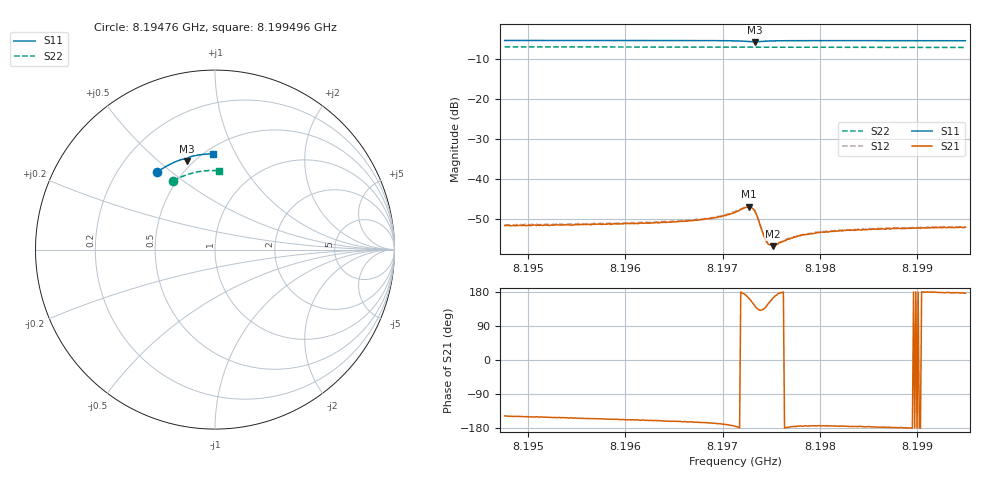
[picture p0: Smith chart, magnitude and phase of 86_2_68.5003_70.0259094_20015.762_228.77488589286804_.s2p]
#  HZ  S  RI  R  50.00
! Rohde & Schwarz Vector Network Analyzer
! Rohde-Schwarz,ZNB20-2Port,1311601062101988,3.16
! Created: UTC 3/20/2024, 4:52:21 PM
! freq[Hz]  re:S11  im:S11  re:S21  im:S21  re:S12  im:S12  re:S22  im:S22
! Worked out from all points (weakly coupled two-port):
!   401 points, 8.19476 GHz to 8.199496 GHz, reference 50 ohm
!   highest |S21| = -46.93 dB at 8.19727 GHz (marker M1); lowest = -56.8 dB at 8.197519 GHz (marker M2)
!   lowest |S11| = -5.7 dB at 8.197329 GHz (marker M3), VSWR 3.14, Z = 23.2 + j31.2 ohm
!   |S11| at or under -10 dB: nowhere
!   |S22| runs from -7.1 to -7.0 dB; largest |S21 - S12| = 0.00026
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8.1947602e9  -0.3219 0.4314  -0.00221 -0.00141  -0.00231 -0.00135  -0.2326 0.3827
8.1955534e9  -0.2746 0.4622  -0.00242 -0.00119  -0.0025 -0.00117  -0.193 0.4028
8.1963466e9  -0.224 0.4877  -0.00266 -0.000971  -0.00277 -0.000885  -0.1517 0.4189
8.1966544e9  -0.2032 0.4962  -0.00289 -0.000866  -0.00299 -0.000743  -0.1352 0.4238
8.1968911e9  -0.1862 0.502  -0.00315 -0.000741  -0.00322 -0.000629  -0.1223 0.4272
8.1970214e9  -0.1758 0.5047  -0.00345 -0.00062  -0.0035 -0.0005  -0.1152 0.429
8.1971279e9  -0.1663 0.5056  -0.00379 -0.000323  -0.00391 -0.00022  -0.1092 0.4304
8.1972345e9  -0.1558 0.5023  -0.00437 0.000587  -0.0044 0.000845  -0.1034 0.4314
8.19727e9  -0.1535 0.4989  -0.00432 0.00129  -0.00435 0.00151  -0.1014 0.4316
8.1973055e9  -0.1539 0.4949  -0.00382 0.00204  -0.0038 0.00228  -0.0995 0.432
8.1973292e9  -0.156 0.4933  -0.0032 0.00239  -0.00316 0.00257  -0.0983 0.4322
8.1973528e9  -0.1588 0.4937  -0.00253 0.00241  -0.00245 0.00252  -0.0973 0.4324
8.197412e9  -0.1613 0.4997  -0.00146 0.00156  -0.00143 0.00161  -0.0941 0.4331
8.1974476e9  -0.1601 0.5037  -0.0013 0.00106  -0.00132 0.0011  -0.0921 0.4337
8.1974831e9  -0.1576 0.5067  -0.00133 0.000695  -0.00136 0.000767  -0.0901 0.434
8.1975186e9  -0.1549 0.5091  -0.00139 0.000393  -0.00144 0.000476  -0.0881 0.4345
8.1977198e9  -0.1387 0.5164  -0.00182 -0.000141  -0.00185 -7.27e-05  -0.077 0.4362
8.1978027e9  -0.1324 0.5184  -0.00194 -0.000198  -0.00198 -0.000123  -0.0722 0.437
8.1979211e9  -0.1238 0.5207  -0.00205 -0.000227  -0.00209 -0.000131  -0.0656 0.4378
8.1982763e9  -0.098 0.526  -0.00229 -0.000188  -0.0023 -0.000113  -0.0456 0.4397
8.1987143e9  -0.0669 0.5306  -0.00237 -0.000127  -0.00245 2.47e-05  -0.0209 0.4408
8.1994956e9  -0.0113 0.5338  -0.00249 0.000155  -0.00255 0.000244  0.0232 0.4391
